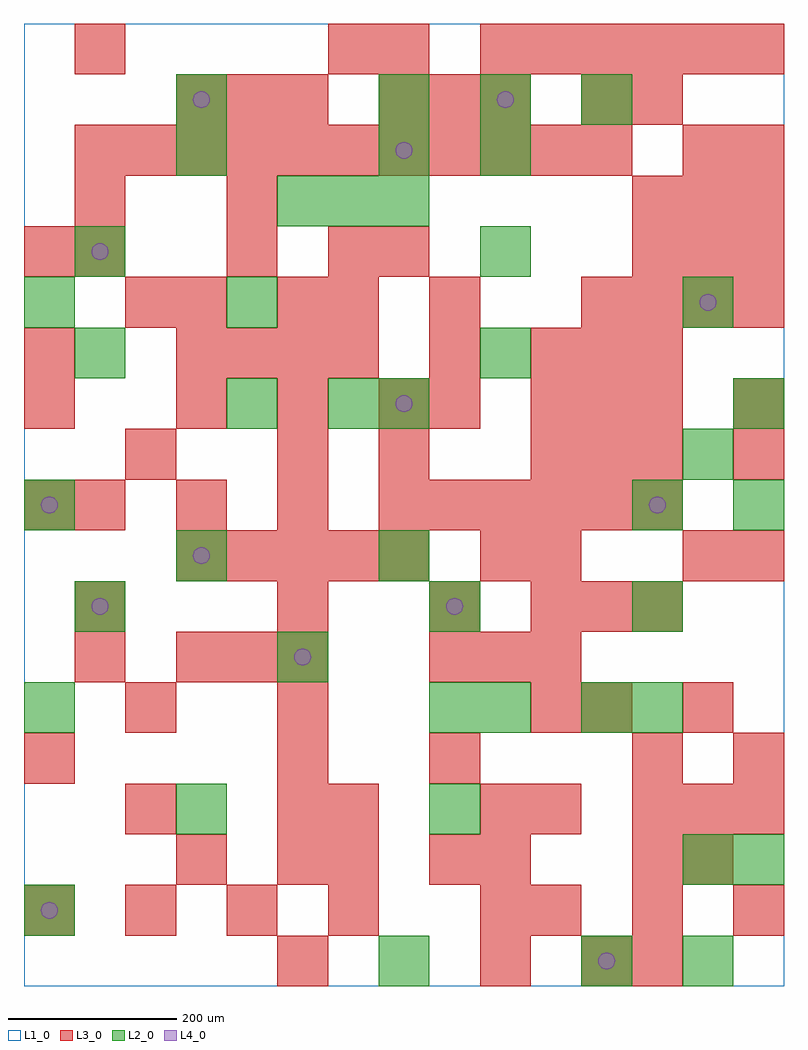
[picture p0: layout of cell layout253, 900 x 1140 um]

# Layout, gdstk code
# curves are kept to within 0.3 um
import gdstk
lib = gdstk.Library(unit=1e-6, precision=1e-09)
def R(c, l, rs):  # rectangles x0, y0, x1, y1
    for r in rs: c.add(gdstk.rectangle(r[:2], r[2:], *l))
def A(c, l, x, y, w, h, nx, ny, dx, dy):  # array of equal rectangles
    R(c, l, [(x+i*dx, y+j*dy, x+i*dx+w, y+j*dy+h) for i in range(nx) for j in range(ny)])
def P(c, l, *ps):  # polygons
    for p in ps: c.add(gdstk.Polygon(p, *l))
L1_0 = (1, 0)
L2_0 = (2, 0)
L3_0 = (3, 0)
L4_0 = (4, 0)

layout253 = lib.new_cell('layout253')
R(layout253, L1_0, [(0,0,900,1140)])
A(layout253, L2_0, 0, 60, 60, 60, 1, 4, 0, 240)
A(layout253, L2_0, 480, 180, 60, 60, 1, 3, 0, 120)
A(layout253, L2_0, 720, 300, 60, 60, 1, 3, 0, 120)
A(layout253, L2_0, 540, 720, 60, 60, 1, 3, 0, 120)
A(layout253, L2_0, 300, 900, 60, 60, 3, 1, 60, 0)
A(layout253, L2_0, 420, 1020, 60, 60, 3, 1, 120, 0)
R(layout253, L2_0, [(420,0,480,60), (660,0,720,60), (780,0,840,60), (780,120,840,180), (840,120,900,180), (180,180,240,240), (540,300,600,360), (660,300,720,360), (300,360,360,420), (60,420,120,480), (180,480,240,540), (420,480,480,540), (840,540,900,600), (780,600,840,660), (240,660,300,720), (360,660,420,720), (420,660,480,720), (840,660,900,720), (60,720,120,780), (240,780,300,840), (780,780,840,840), (60,840,120,900), (180,960,240,1020), (420,960,480,1020), (180,1020,240,1080)])
A(layout253, L3_0, 540, 0, 60, 60, 1, 4, 0, 60)
A(layout253, L3_0, 720, 0, 60, 60, 1, 3, 0, 120)
A(layout253, L3_0, 0, 60, 60, 60, 4, 1, 120, 0)
A(layout253, L3_0, 600, 60, 60, 60, 3, 1, 120, 0)
A(layout253, L3_0, 300, 120, 60, 60, 1, 4, 0, 60)
A(layout253, L3_0, 780, 120, 60, 60, 1, 3, 0, 180)
A(layout253, L3_0, 720, 180, 60, 60, 3, 2, 60, 660)
A(layout253, L3_0, 180, 360, 60, 60, 3, 2, 60, 660)
A(layout253, L3_0, 480, 360, 60, 60, 3, 1, 60, 0)
A(layout253, L3_0, 300, 420, 60, 60, 1, 3, 0, 180)
A(layout253, L3_0, 600, 420, 60, 60, 3, 2, 60, 180)
A(layout253, L3_0, 180, 480, 60, 60, 5, 1, 60, 0)
A(layout253, L3_0, 60, 540, 60, 60, 4, 1, 120, 0)
A(layout253, L3_0, 480, 540, 60, 60, 5, 1, 60, 0)
A(layout253, L3_0, 420, 600, 60, 60, 1, 3, 0, 240)
A(layout253, L3_0, 180, 660, 60, 60, 3, 1, 120, 0)
A(layout253, L3_0, 480, 660, 60, 60, 1, 3, 0, 60)
A(layout253, L3_0, 600, 660, 60, 60, 3, 2, 60, 60)
A(layout253, L3_0, 180, 720, 60, 60, 4, 1, 60, 0)
A(layout253, L3_0, 660, 780, 60, 60, 4, 1, 60, 0)
A(layout253, L3_0, 720, 900, 60, 60, 3, 1, 60, 0)
A(layout253, L3_0, 60, 960, 60, 60, 11, 1, 60, 0)
A(layout253, L3_0, 420, 1020, 60, 60, 3, 1, 60, 0)
A(layout253, L3_0, 540, 1080, 60, 60, 6, 1, 60, 0)
R(layout253, L3_0, [(300,0,360,60), (660,0,720,60), (180,120,240,180), (360,120,420,180), (480,120,540,180), (120,180,180,240), (360,180,420,240), (600,180,660,240), (0,240,60,300), (480,240,540,300), (840,240,900,300), (120,300,180,360), (600,300,660,360), (660,300,720,360), (60,360,120,420), (60,420,120,480), (480,420,540,480), (540,480,600,540), (600,480,660,540), (840,480,900,540), (0,540,60,600), (120,600,180,660), (840,600,900,660), (0,660,60,720), (840,660,900,720), (0,720,60,780), (120,780,180,840), (180,780,240,840), (360,780,420,840), (0,840,60,900), (60,840,120,900), (240,840,300,900), (360,840,420,900), (60,900,120,960), (240,900,300,960), (780,960,840,1020), (840,960,900,1020), (660,1020,720,1080), (720,1020,780,1080), (60,1080,120,1140), (360,1080,420,1140)])
P(layout253, L4_0, [(40,90),(39.239,93.827),(37.071,97.071),(33.827,99.239),(30,100),(26.173,99.239),(22.929,97.071),(20.761,93.827),(20,90),(20.761,86.173),(22.929,82.929),(26.173,80.761),(30,80),(33.827,80.761),(37.071,82.929),(39.239,86.173)],
  [(40,570),(39.239,573.827),(37.071,577.071),(33.827,579.239),(30,580),(26.173,579.239),(22.929,577.071),(20.761,573.827),(20,570),(20.761,566.173),(22.929,562.929),(26.173,560.761),(30,560),(33.827,560.761),(37.071,562.929),(39.239,566.173)],
  [(100,450),(99.239,453.827),(97.071,457.071),(93.827,459.239),(90,460),(86.173,459.239),(82.929,457.071),(80.761,453.827),(80,450),(80.761,446.173),(82.929,442.929),(86.173,440.761),(90,440),(93.827,440.761),(97.071,442.929),(99.239,446.173)],
  [(100,870),(99.239,873.827),(97.071,877.071),(93.827,879.239),(90,880),(86.173,879.239),(82.929,877.071),(80.761,873.827),(80,870),(80.761,866.173),(82.929,862.929),(86.173,860.761),(90,860),(93.827,860.761),(97.071,862.929),(99.239,866.173)],
  [(220,510),(219.239,513.827),(217.071,517.071),(213.827,519.239),(210,520),(206.173,519.239),(202.929,517.071),(200.761,513.827),(200,510),(200.761,506.173),(202.929,502.929),(206.173,500.761),(210,500),(213.827,500.761),(217.071,502.929),(219.239,506.173)],
  [(220,1050),(219.239,1053.827),(217.071,1057.071),(213.827,1059.239),(210,1060),(206.173,1059.239),(202.929,1057.071),(200.761,1053.827),(200,1050),(200.761,1046.173),(202.929,1042.929),(206.173,1040.761),(210,1040),(213.827,1040.761),(217.071,1042.929),(219.239,1046.173)],
  [(340,390),(339.239,393.827),(337.071,397.071),(333.827,399.239),(330,400),(326.173,399.239),(322.929,397.071),(320.761,393.827),(320,390),(320.761,386.173),(322.929,382.929),(326.173,380.761),(330,380),(333.827,380.761),(337.071,382.929),(339.239,386.173)],
  [(460,690),(459.239,693.827),(457.071,697.071),(453.827,699.239),(450,700),(446.173,699.239),(442.929,697.071),(440.761,693.827),(440,690),(440.761,686.173),(442.929,682.929),(446.173,680.761),(450,680),(453.827,680.761),(457.071,682.929),(459.239,686.173)],
  [(460,990),(459.239,993.827),(457.071,997.071),(453.827,999.239),(450,1000),(446.173,999.239),(442.929,997.071),(440.761,993.827),(440,990),(440.761,986.173),(442.929,982.929),(446.173,980.761),(450,980),(453.827,980.761),(457.071,982.929),(459.239,986.173)],
  [(520,450),(519.239,453.827),(517.071,457.071),(513.827,459.239),(510,460),(506.173,459.239),(502.929,457.071),(500.761,453.827),(500,450),(500.761,446.173),(502.929,442.929),(506.173,440.761),(510,440),(513.827,440.761),(517.071,442.929),(519.239,446.173)],
  [(580,1050),(579.239,1053.827),(577.071,1057.071),(573.827,1059.239),(570,1060),(566.173,1059.239),(562.929,1057.071),(560.761,1053.827),(560,1050),(560.761,1046.173),(562.929,1042.929),(566.173,1040.761),(570,1040),(573.827,1040.761),(577.071,1042.929),(579.239,1046.173)],
  [(700,30),(699.239,33.827),(697.071,37.071),(693.827,39.239),(690,40),(686.173,39.239),(682.929,37.071),(680.761,33.827),(680,30),(680.761,26.173),(682.929,22.929),(686.173,20.761),(690,20),(693.827,20.761),(697.071,22.929),(699.239,26.173)],
  [(760,570),(759.239,573.827),(757.071,577.071),(753.827,579.239),(750,580),(746.173,579.239),(742.929,577.071),(740.761,573.827),(740,570),(740.761,566.173),(742.929,562.929),(746.173,560.761),(750,560),(753.827,560.761),(757.071,562.929),(759.239,566.173)],
  [(820,810),(819.239,813.827),(817.071,817.071),(813.827,819.239),(810,820),(806.173,819.239),(802.929,817.071),(800.761,813.827),(800,810),(800.761,806.173),(802.929,802.929),(806.173,800.761),(810,800),(813.827,800.761),(817.071,802.929),(819.239,806.173)])

lib.write_gds('layout253.gds')
